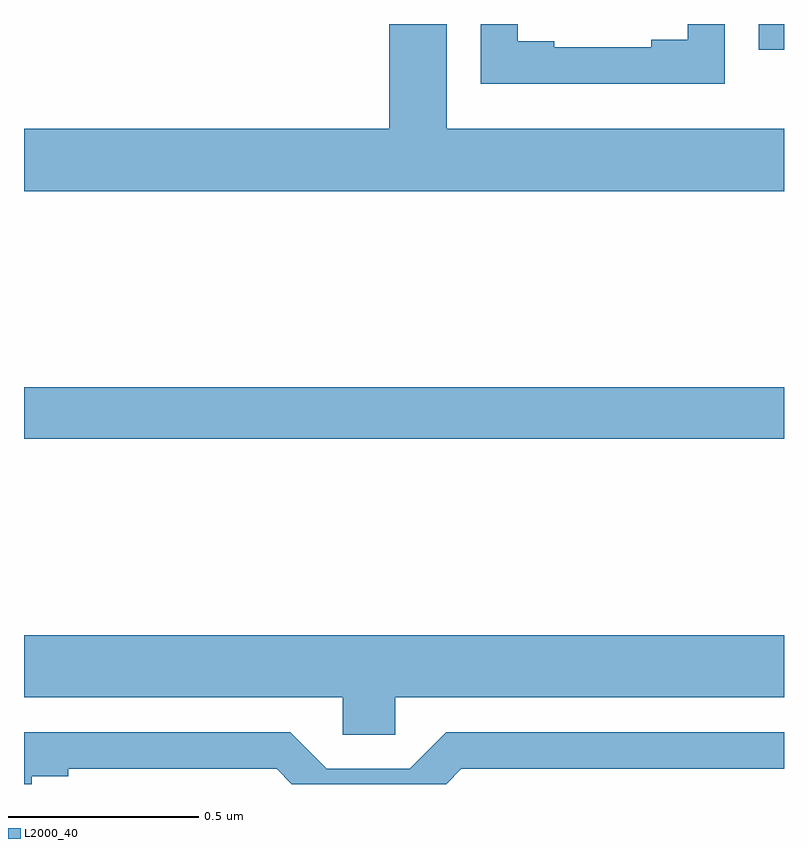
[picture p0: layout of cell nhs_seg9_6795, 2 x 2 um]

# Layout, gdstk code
import gdstk
lib = gdstk.Library(unit=1e-6, precision=1e-09)
def R(c, l, rs):  # rectangles x0, y0, x1, y1
    for r in rs: c.add(gdstk.rectangle(r[:2], r[2:], *l))
def P(c, l, *ps):  # polygons
    for p in ps: c.add(gdstk.Polygon(p, *l))
L2000_40 = (2000, 40)

nhs_seg9_6795 = lib.new_cell('nhs_seg9_6795')
R(nhs_seg9_6795, L2000_40, [(196,1222.408,198,1222.544), (197.934,1223.432,198,1223.5)])
P(nhs_seg9_6795, L2000_40, [(198,1223.224),(197.113,1223.224),(197.113,1223.5),(196.961,1223.5),(196.961,1223.224),(196,1223.224),(196,1223.06),(198,1223.06)],
  [(197.844,1223.5),(197.747,1223.5),(197.747,1223.459),(197.651,1223.459),(197.651,1223.439),(197.395,1223.439),(197.395,1223.454),(197.299,1223.454),(197.299,1223.5),(197.202,1223.5),(197.202,1223.343),(197.844,1223.343)],
  [(196.977,1221.728),(198,1221.728),(198,1221.892),(196,1221.892),(196,1221.728),(196.839,1221.728),(196.839,1221.63),(196.977,1221.63)],
  [(196.021,1221.52),(196.117,1221.52),(196.117,1221.54),(196.665,1221.54),(196.705,1221.5),(197.111,1221.5),(197.151,1221.54),(198,1221.54),(198,1221.636),(197.111,1221.636),(197.015,1221.54),(196.797,1221.54),(196.701,1221.636),(196,1221.636),(196,1221.5),(196.021,1221.5)])

lib.write_gds('nhs_seg9_6795.gds')
